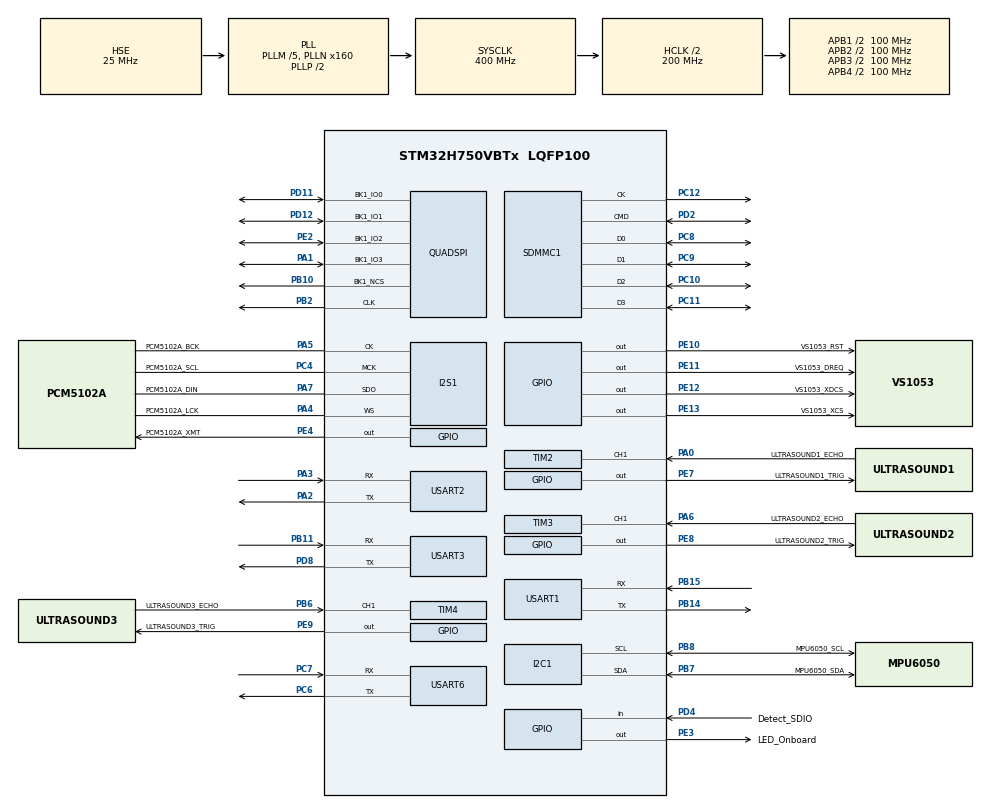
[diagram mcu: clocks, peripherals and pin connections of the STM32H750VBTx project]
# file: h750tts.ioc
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CORTEX_M7.CPU_DCache=Enabled
CORTEX_M7.CPU_ICache=Enabled
Dma.Request0=SPI1_TX
Dma.Request1=USART2_TX
Dma.SPI1_TX.0.Direction=DMA_MEMORY_TO_PERIPH
Dma.SPI1_TX.0.EventEnable=DISABLE
Dma.SPI1_TX.0.FIFOMode=DMA_FIFOMODE_DISABLE
Dma.SPI1_TX.0.Instance=DMA1_Stream0
Dma.SPI1_TX.0.MemDataAlignment=DMA_MDATAALIGN_HALFWORD
Dma.SPI1_TX.0.MemInc=DMA_MINC_ENABLE
Dma.SPI1_TX.0.Mode=DMA_CIRCULAR
Dma.SPI1_TX.0.PeriphDataAlignment=DMA_PDATAALIGN_HALFWORD
Dma.SPI1_TX.0.PeriphInc=DMA_PINC_DISABLE
Dma.SPI1_TX.0.Polarity=HAL_DMAMUX_REQ_GEN_RISING
Dma.SPI1_TX.0.Priority=DMA_PRIORITY_LOW
Dma.SPI1_TX.0.RequestNumber=1
Dma.SPI1_TX.0.SignalID=NONE
Dma.SPI1_TX.0.SyncEnable=DISABLE
Dma.SPI1_TX.0.SyncPolarity=HAL_DMAMUX_SYNC_NO_EVENT
Dma.SPI1_TX.0.SyncRequestNumber=1
Dma.SPI1_TX.0.SyncSignalID=NONE
Dma.USART2_TX.1.Direction=DMA_MEMORY_TO_PERIPH
Dma.USART2_TX.1.EventEnable=DISABLE
Dma.USART2_TX.1.FIFOMode=DMA_FIFOMODE_DISABLE
Dma.USART2_TX.1.Instance=DMA1_Stream1
Dma.USART2_TX.1.MemDataAlignment=DMA_MDATAALIGN_BYTE
Dma.USART2_TX.1.MemInc=DMA_MINC_ENABLE
Dma.USART2_TX.1.Mode=DMA_NORMAL
Dma.USART2_TX.1.PeriphDataAlignment=DMA_PDATAALIGN_BYTE
Dma.USART2_TX.1.PeriphInc=DMA_PINC_DISABLE
Dma.USART2_TX.1.Polarity=HAL_DMAMUX_REQ_GEN_RISING
Dma.USART2_TX.1.Priority=DMA_PRIORITY_LOW
Dma.USART2_TX.1.RequestNumber=1
Dma.USART2_TX.1.SignalID=NONE
Dma.USART2_TX.1.SyncEnable=DISABLE
Dma.USART2_TX.1.SyncPolarity=HAL_DMAMUX_SYNC_NO_EVENT
Dma.USART2_TX.1.SyncRequestNumber=1
Dma.USART2_TX.1.SyncSignalID=NONE
FATFS.BSP.number=1
FATFS0.BSP.STBoard=false
FATFS0.BSP.api=Unknown
FATFS0.BSP.instance=PD4
FATFS0.BSP.ip=GPIO
FATFS0.BSP.mode=Input
FATFS0.BSP.name=Detect_SDIO
FATFS0.BSP.solution=PD4
I2C1.Timing=0x10C0ECFF
I2S1.AudioFreq=I2S_AUDIOFREQ_44K
I2S1.DataFormat=I2S_DATAFORMAT_16B_EXTENDED
I2S1.ErrorAudioFreq=-1.35 %
I2S1.Instance=SPI$Index
I2S1.RealAudioFreq=43.402 KHz
I2S1.Standard=I2S_STANDARD_MSB
Mcu.Family=STM32H7
Mcu.Name=STM32H750VBTx
Mcu.Package=LQFP100
NVIC.DMA1_Stream0_IRQn=true\:0\:0\:false\:false\:true\:false\:true\:true
NVIC.DMA1_Stream1_IRQn=true\:0\:0\:false\:false\:true\:false\:true\:true
NVIC.PriorityGroup=NVIC_PRIORITYGROUP_4
NVIC.USART1_IRQn=true\:0\:0\:false\:false\:true\:true\:true\:true
NVIC.USART2_IRQn=true\:0\:0\:false\:false\:true\:true\:true\:true
PA0.GPIO_Label=ULTRASOUND1_ECHO
PA0.Signal=S_TIM2_CH1_ETR
PA1.Mode=Single Bank 1
PA1.Signal=QUADSPI_BK1_IO3
PA13\ (JTMS/SWDIO).Mode=Serial_Wire
PA13\ (JTMS/SWDIO).Signal=DEBUG_JTMS-SWDIO
PA14\ (JTCK/SWCLK).Mode=Serial_Wire
PA14\ (JTCK/SWCLK).Signal=DEBUG_JTCK-SWCLK
PA2.Mode=Asynchronous
PA2.Signal=USART2_TX
PA3.Mode=Asynchronous
PA3.Signal=USART2_RX
PA4.GPIO_Label=PCM5102A_LCK
PA4.Mode=Half_Duplex_Master_Tx
PA4.Signal=I2S1_WS
PA5.GPIO_Label=PCM5102A_BCK
PA5.Mode=Half_Duplex_Master_Tx
PA5.Signal=I2S1_CK
PA6.GPIO_Label=ULTRASOUND2_ECHO
PA6.Signal=S_TIM3_CH1
PA7.GPIO_Label=PCM5102A_DIN
PA7.Mode=Half_Duplex_Master_Tx
PA7.Signal=I2S1_SDO
PB10.Mode=Single Bank 1
PB10.Signal=QUADSPI_BK1_NCS
PB11.Mode=Asynchronous
PB11.Signal=USART3_RX
PB14.Mode=Asynchronous
PB14.Signal=USART1_TX
PB15.Mode=Asynchronous
PB15.Signal=USART1_RX
PB2.Mode=Single Bank 1
PB2.Signal=QUADSPI_CLK
PB6.GPIO_Label=ULTRASOUND3_ECHO
PB6.Signal=S_TIM4_CH1
PB7.GPIO_Label=MPU6050_SDA
PB7.Mode=I2C
PB7.Signal=I2C1_SDA
PB8.GPIO_Label=MPU6050_SCL
PB8.Mode=I2C
PB8.Signal=I2C1_SCL
PC10.Mode=SD_4_bits_Wide_bus
PC10.Signal=SDMMC1_D2
PC11.Mode=SD_4_bits_Wide_bus
PC11.Signal=SDMMC1_D3
PC12.Mode=SD_4_bits_Wide_bus
PC12.Signal=SDMMC1_CK
PC4.GPIO_Label=PCM5102A_SCL
PC4.Mode=Master_Clock_Activated
PC4.Signal=I2S1_MCK
PC6.Mode=Asynchronous
PC6.Signal=USART6_TX
PC7.Mode=Asynchronous
PC7.Signal=USART6_RX
PC8.Mode=SD_4_bits_Wide_bus
PC8.Signal=SDMMC1_D0
PC9.Mode=SD_4_bits_Wide_bus
PC9.Signal=SDMMC1_D1
PD11.Mode=Single Bank 1
PD11.Signal=QUADSPI_BK1_IO0
PD12.Mode=Single Bank 1
PD12.Signal=QUADSPI_BK1_IO1
PD2.Mode=SD_4_bits_Wide_bus
PD2.Signal=SDMMC1_CMD
PD4.GPIO_Label=Detect_SDIO
PD4.Signal=GPIO_Input
PD8.Mode=Asynchronous
PD8.Signal=USART3_TX
PE10.GPIO_Label=VS1053_RST
PE10.Signal=GPIO_Output
PE11.GPIO_Label=VS1053_DREQ
PE11.Signal=GPIO_Output
PE12.GPIO_Label=VS1053_XDCS
PE12.Signal=GPIO_Output
PE13.GPIO_Label=VS1053_XCS
PE13.Signal=GPIO_Output
PE2.Mode=Single Bank 1
PE2.Signal=QUADSPI_BK1_IO2
PE3.GPIO_Label=LED_Onboard
PE3.Signal=GPIO_Output
PE4.GPIO_Label=PCM5102A_XMT
PE4.PinState=GPIO_PIN_SET
PE4.Signal=GPIO_Output
PE7.GPIO_Label=ULTRASOUND1_TRIG
PE7.Signal=GPIO_Output
PE8.GPIO_Label=ULTRASOUND2_TRIG
PE8.Signal=GPIO_Output
PE9.GPIO_Label=ULTRASOUND3_TRIG
PE9.Signal=GPIO_Output
PH0-OSC_IN\ (PH0).Mode=HSE-External-Oscillator
PH0-OSC_IN\ (PH0).Signal=RCC_OSC_IN
PH1-OSC_OUT\ (PH1).Mode=HSE-External-Oscillator
PH1-OSC_OUT\ (PH1).Signal=RCC_OSC_OUT
ProjectManager.HeapSize=0x200
ProjectManager.StackSize=0x400
ProjectManager.TargetToolchain=Makefile
RCC.ADCFreq_Value=50390625
RCC.APB1Freq_Value=100000000
RCC.APB2Freq_Value=100000000
RCC.APB3Freq_Value=100000000
RCC.APB4Freq_Value=100000000
RCC.CortexFreq_Value=400000000
RCC.D1PPRE=RCC_APB3_DIV2
RCC.D2PPRE1=RCC_APB1_DIV2
RCC.D2PPRE2=RCC_APB2_DIV2
RCC.D3PPRE=RCC_APB4_DIV2
RCC.DIVM1=5
RCC.DIVN1=160
RCC.DIVQ1=4
RCC.HCLKFreq_Value=200000000
RCC.HPRE=RCC_HCLK_DIV2
RCC.HSE_VALUE=25000000
RCC.PLL2FRACN=0
RCC.PLL3FRACN=0
RCC.PLLFRACN=0
RCC.PLLSourceVirtual=RCC_PLLSOURCE_HSE
RCC.QSPICLockSelection=RCC_QSPICLKSOURCE_PLL
RCC.SYSCLKFreq_VALUE=400000000
RCC.SYSCLKSource=RCC_SYSCLKSOURCE_PLLCLK
RCC.USBFreq_Value=200000000
SH.S_TIM2_CH1_ETR.0=TIM2_CH1,Input_Capture1_from_TI1
SH.S_TIM3_CH1.0=TIM3_CH1,Input_Capture1_from_TI1
SH.S_TIM4_CH1.0=TIM4_CH1,Input_Capture1_from_TI1
TIM2.Channel-Input_Capture1_from_TI1=TIM_CHANNEL_1
TIM3.Channel-Input_Capture1_from_TI1=TIM_CHANNEL_1
TIM4.Channel-Input_Capture1_from_TI1=TIM_CHANNEL_1
USART1.VirtualMode-Asynchronous=VM_ASYNC
USART2.VirtualMode-Asynchronous=VM_ASYNC
USART3.VirtualMode-Asynchronous=VM_ASYNC
USART6.VirtualMode=VM_ASYNC
VP_FATFS_VS_SDIO.Mode=SDIO
VP_TIM2_VS_ClockSourceINT.Mode=Internal
VP_TIM3_VS_ClockSourceINT.Mode=Internal
VP_TIM4_VS_ClockSourceINT.Mode=Internal
board=custom

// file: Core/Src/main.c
/* USER CODE BEGIN Header */
/**
 ******************************************************************************
 * @file           : main.c
 * @brief          : Main program body
 ******************************************************************************
 * @attention
 *
 * Copyright (c) 2023 STMicroelectronics.
 * All rights reserved.
 *
 * This software is licensed under terms that can be found in the LICENSE file
 * in the root directory of this software component.
 * If no LICENSE file comes with this software, it is provided AS-IS.
 *
 ******************************************************************************
 */
/* USER CODE END Header */
#include "main.h"

#include "dma.h"
#include "fatfs.h"
#include "gpio.h"
#include "i2c.h"
#include "i2s.h"
#include "quadspi.h"
#include "sdmmc.h"
#include "tim.h"
#include "usart.h"

/* USER CODE BEGIN Includes */
#include <stdio.h>
#include <string.h>

#include "dmpKey.h"
#include "dmpmap.h"
#include "inv_mpu.h"
#include "inv_mpu_dmp_motion_driver.h"
#include "mp3.h"
#include "mpu6050.h"
#include "retarget.h"
/* USER CODE END Includes */

/* USER CODE BEGIN PM */
#define APP_ERROR(code, message) \
  printf("{\"code\":%d,\"message\":\"%s\"}\n", code, message)
#define APP_SUCCESS(message) \
  printf("{\"code\":0,\"message\":\"%s\"}\n", message)
/* USER CODE END PM */

/* USER CODE BEGIN PV */
#define MOVING_UPPER_BOUND 1.1
#define MOVING_LOWER_BOUND 0.9
/* USER CODE END PV */

void SystemClock_Config(void);
/* USER CODE BEGIN PFP */
void APP_HandleJsonData(cJSON* json);
void APP_EchoCommand(cJSON* json);
void APP_LedCommand(cJSON* json);
void APP_PlayCommand(cJSON* json);
void APP_SpeakCommand(cJSON* json);
void APP_StopCommand(cJSON* json);
void APP_VolumeCommand(cJSON* json);
void APP_QueryCommand(cJSON* json);
/* USER CODE END PFP */

int main(void) {

  /* Enable I-Cache---------------------------------------------------------*/
  SCB_EnableICache();

  /* Enable D-Cache---------------------------------------------------------*/
  SCB_EnableDCache();

  /* MCU Configuration--------------------------------------------------------*/

  /* Reset of all peripherals, Initializes the Flash interface and the Systick.
   */
  HAL_Init();

  /* Configure the system clock */
  SystemClock_Config();

  /* Initialize all configured peripherals */
  MX_GPIO_Init();
  MX_DMA_Init();
  MX_I2S1_Init();
  MX_SDMMC1_SD_Init();
  MX_USART1_UART_Init();
  MX_USART2_UART_Init();
  MX_QUADSPI_Init();
  MX_FATFS_Init();
  MX_USART3_UART_Init();
  MX_USART6_UART_Init();
  MX_TIM2_Init();
  MX_TIM3_Init();
  MX_TIM4_Init();
  MX_I2C1_Init();
  /* USER CODE BEGIN 2 */
  SDMMC_InitFilesystem();
  RetargetInit(&huart2);
  MPU_Init();
  mpu_dmp_init();
  UART_ResetJsonRX(&huart2);
  MP3_Init();

  MP3_Speak("开机");
  /* USER CODE END 2 */

  /* Infinite loop */
  while (1) {

    /* USER CODE BEGIN 3 */
    UART_PollJsonData(APP_HandleJsonData);
    MPU6050_freshData();  // MPU6050_get_data is not very steady. So I will get
                          // data frequently and store the last available one.
    MP3_PollBuffer();
  }
  /* USER CODE END 3 */
}

void SystemClock_Config(void) {
  RCC_OscInitTypeDef RCC_OscInitStruct = {0};
  RCC_ClkInitTypeDef RCC_ClkInitStruct = {0};

  /** Supply configuration update enable
   */
  HAL_PWREx_ConfigSupply(PWR_LDO_SUPPLY);

  /** Configure the main internal regulator output voltage
   */
  __HAL_PWR_VOLTAGESCALING_CONFIG(PWR_REGULATOR_VOLTAGE_SCALE1);

  while (!__HAL_PWR_GET_FLAG(PWR_FLAG_VOSRDY)) {
  }

  /** Initializes the RCC Oscillators according to the specified parameters
   * in the RCC_OscInitTypeDef structure.
   */
  RCC_OscInitStruct.OscillatorType = RCC_OSCILLATORTYPE_HSE;
  RCC_OscInitStruct.HSEState = RCC_HSE_ON;
  RCC_OscInitStruct.PLL.PLLState = RCC_PLL_ON;
  RCC_OscInitStruct.PLL.PLLSource = RCC_PLLSOURCE_HSE;
  RCC_OscInitStruct.PLL.PLLM = 5;
  RCC_OscInitStruct.PLL.PLLN = 160;
  RCC_OscInitStruct.PLL.PLLP = 2;
  RCC_OscInitStruct.PLL.PLLQ = 4;
  RCC_OscInitStruct.PLL.PLLR = 2;
  RCC_OscInitStruct.PLL.PLLRGE = RCC_PLL1VCIRANGE_2;
  RCC_OscInitStruct.PLL.PLLVCOSEL = RCC_PLL1VCOWIDE;
  RCC_OscInitStruct.PLL.PLLFRACN = 0;
  if (HAL_RCC_OscConfig(&RCC_OscInitStruct) != HAL_OK) {
    Error_Handler();
  }

  /** Initializes the CPU, AHB and APB buses clocks
   */
  RCC_ClkInitStruct.ClockType = RCC_CLOCKTYPE_HCLK | RCC_CLOCKTYPE_SYSCLK |
                                RCC_CLOCKTYPE_PCLK1 | RCC_CLOCKTYPE_PCLK2 |
                                RCC_CLOCKTYPE_D3PCLK1 | RCC_CLOCKTYPE_D1PCLK1;
  RCC_ClkInitStruct.SYSCLKSource = RCC_SYSCLKSOURCE_PLLCLK;
  RCC_ClkInitStruct.SYSCLKDivider = RCC_SYSCLK_DIV1;
  RCC_ClkInitStruct.AHBCLKDivider = RCC_HCLK_DIV2;
  RCC_ClkInitStruct.APB3CLKDivider = RCC_APB3_DIV2;
  RCC_ClkInitStruct.APB1CLKDivider = RCC_APB1_DIV2;
  RCC_ClkInitStruct.APB2CLKDivider = RCC_APB2_DIV2;
  RCC_ClkInitStruct.APB4CLKDivider = RCC_APB4_DIV2;

  if (HAL_RCC_ClockConfig(&RCC_ClkInitStruct, FLASH_LATENCY_2) != HAL_OK) {
    Error_Handler();
  }
}

/* USER CODE BEGIN 4 */
void APP_HandleJsonData(cJSON* json) {
  if (json != NULL) {
    cJSON* command = cJSON_GetObjectItemCaseSensitive(json, "command");
    if (cJSON_IsString(command) && (command->valuestring != NULL)) {
      if (strcmp(command->valuestring, "echo") == 0) {
        APP_EchoCommand(json);
      } else if (strcmp(command->valuestring, "led") == 0) {
        APP_LedCommand(json);
      } else if (strcmp(command->valuestring, "play") == 0) {
        APP_PlayCommand(json);
      } else if (strcmp(command->valuestring, "speak") == 0) {
        APP_SpeakCommand(json);
      } else if (strcmp(command->valuestring, "stop") == 0) {
        APP_StopCommand(json);
      } else if (strcmp(command->valuestring, "volume") == 0) {
        APP_VolumeCommand(json);
      } else if (strcmp(command->valuestring, "query") == 0) {
        APP_QueryCommand(json);
      } else {
        APP_ERROR(2, "Unknown command");
        return;
      }
    } else {
      APP_ERROR(1, "Bad json");
      return;
    }
  } else {
    APP_ERROR(1, "Bad json");
    return;
  }
}

void APP_EchoCommand(cJSON* json) {
  // { "command": "echo", "message": "Hello World!" }
  cJSON* message = cJSON_GetObjectItemCaseSensitive(json, "message");
  if (cJSON_IsString(message) && (message->valuestring != NULL)) {
    APP_SUCCESS(message->valuestring);
  } else {
    APP_ERROR(2, "Bad command");
    return;
  }
}

void APP_LedCommand(cJSON* json) {
  // { "command": "led", "on": true | false }
  cJSON* on = cJSON_GetObjectItemCaseSensitive(json, "on");
  if (cJSON_IsBool(on)) {
    if (on->valueint == 1) {
      HAL_GPIO_WritePin(LED_Onboard_GPIO_Port, LED_Onboard_Pin, GPIO_PIN_SET);
    } else {
      HAL_GPIO_WritePin(LED_Onboard_GPIO_Port, LED_Onboard_Pin, GPIO_PIN_RESET);
    }
  } else {
    APP_ERROR(2, "Bad command");
    return;
  }
  APP_SUCCESS("OK");
}

void APP_PlayCommand(cJSON* json) {
  // { "command": "play", "list": [123, 2131, 123] }
  cJSON* list = cJSON_GetObjectItemCaseSensitive(json, "list");
  if (cJSON_IsArray(list)) {
    cJSON* item = NULL;
    cJSON_ArrayForEach(item, list) {
      if (cJSON_IsNumber(item)) {
        MP3_Enqueue(item->valueint);
      }
    }
    APP_SUCCESS("OK");
  } else {
    APP_ERROR(2, "Bad command");
  }
}

void APP_SpeakCommand(cJSON* json) {
  // { "command": "speak", "text": "中文 UTF-8 字符串" }
  cJSON* text = cJSON_GetObjectItemCaseSensitive(json, "text");
  if (cJSON_IsString(text) && (text->valuestring != NULL)) {
    MP3_Speak(text->valuestring);
    APP_SUCCESS("OK");
  } else {
    APP_ERROR(2, "Bad command");
  }
}

void APP_StopCommand(cJSON* json) {
  // { "command": "stop" }
  MP3_StopPlay(1);
  APP_SUCCESS("OK");
}

void APP_VolumeCommand(cJSON* json) {
  // { "command": "volume", "volume": 50 }
  cJSON* volume = cJSON_GetObjectItemCaseSensitive(json, "volume");
  if (cJSON_IsNumber(volume) && MP3_SetVolume(volume->valueint) == MP3_OK) {
    APP_SUCCESS("OK");
  } else {
    APP_ERROR(2, "Bad command");
  }
}

void APP_QueryCommand(cJSON* json) {
  /*
    interface QueryResponseData {
      volume: number;
      isPlaying: boolean;

      isMoving: boolean;
      facing: number;
      distance: number;
    }

    interface SuccessResponse<TData = void> {
      code: 0;
      message: string;
      data: TData;
    }
  */

  cJSON* data = cJSON_CreateObject();
  cJSON_AddNumberToObject(data, "volume", MP3_GetVolume());

  short directedAccelration[3];
  float pitch, roll, yaw;
  double totalAccelration;
  MPU6050_getData(&pitch, &roll, &yaw, &directedAccelration[0],
                  &directedAccelration[1], &directedAccelration[2]);
  totalAccelration =
      sqrt(1.0 * directedAccelration[0] * directedAccelration[0] +
           1.0 * directedAccelration[1] * directedAccelration[1] +
           1.0 * directedAccelration[2] * directedAccelration[2]);
  totalAccelration = totalAccelration / 16384.0;

  cJSON_AddBoolToObject(data, "isPlaying", MP3_GetIsPlaying());
  if (totalAccelration > MOVING_UPPER_BOUND || totalAccelration < MOVING_LOWER_BOUND) {
    cJSON_AddBoolToObject(data, "isMoving", cJSON_True);
  } else {
    cJSON_AddBoolToObject(data, "isMoving", cJSON_False);
  }
  cJSON_AddNumberToObject(data, "totalAccelration", totalAccelration);
  cJSON_AddNumberToObject(data, "facing", pitch);
  cJSON_AddNumberToObject(data, "distance", 100);

  cJSON* response = cJSON_CreateObject();
  cJSON_AddNumberToObject(response, "code", 0);
  cJSON_AddStringToObject(response, "message", "OK");
  cJSON_AddItemToObject(response, "data", data);

  char* response_str = cJSON_PrintUnformatted(response);
  printf("%s\n", response_str);

  cJSON_Delete(response);
  free(response);
  free(response_str);
}
/* USER CODE END 4 */

void Error_Handler(void) {
  /* USER CODE BEGIN Error_Handler_Debug */
  /* User can add his own implementation to report the HAL error return state */
  __disable_irq();
  while (1) {
    HAL_GPIO_TogglePin(LED_Onboard_GPIO_Port, LED_Onboard_Pin);
    HAL_Delay(100);
  }
  /* USER CODE END Error_Handler_Debug */
}

#ifdef USE_FULL_ASSERT
/**
 * @brief  Reports the name of the source file and the source line number
 *         where the assert_param error has occurred.
 * @param  file: pointer to the source file name
 * @param  line: assert_param error line source number
 * @retval None
 */
void assert_failed(uint8_t* file, uint32_t line) {
  /* USER CODE BEGIN 6 */
  /* User can add his own implementation to report the file name and line
     number, ex: printf("Wrong parameters value: file %s on line %d\r\n", file,
     line) */
  /* USER CODE END 6 */
}
#endif /* USE_FULL_ASSERT */
